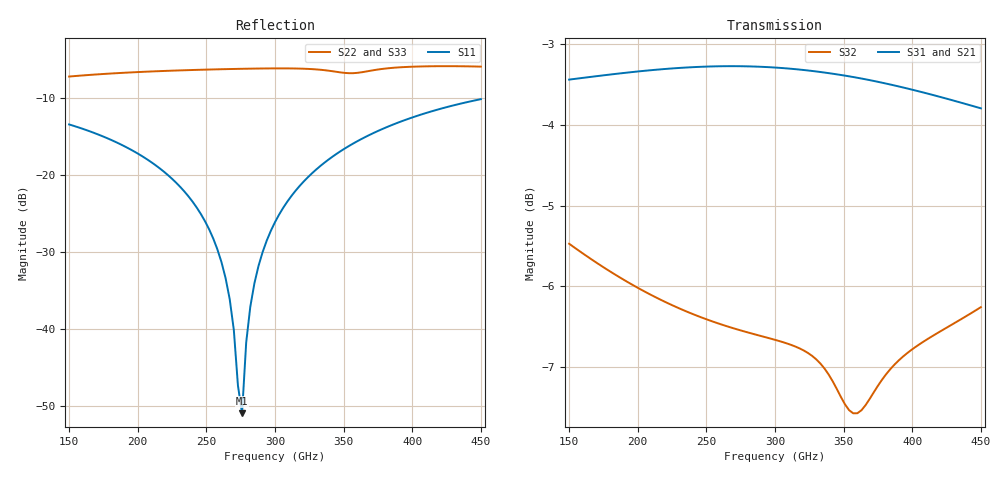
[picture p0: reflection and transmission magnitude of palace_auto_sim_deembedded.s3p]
! Created with skrf 1.11.0 (http://scikit-rf.org).
# GHz S DB R 50.0
!freq dBS11 angS11 dBS12 angS12 dBS13 angS13
! dBS21 angS21 dBS22 angS22 dBS23 angS23
! dBS31 angS31 dBS32 angS32 dBS33 angS33
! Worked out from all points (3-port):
!   101 points, 150 GHz to 450 GHz, reference 50 ohm
!   strongest paths, dB at 150 GHz, 225 GHz, 300 GHz, 375 GHz, 450 GHz:
!     S31: -3.4, -3.3, -3.3, -3.5, -3.8
!     S21: -3.4, -3.3, -3.3, -3.5, -3.8
!     S32: -5.5, -6.2, -6.7, -7.2, -6.3
!   lowest |S11| = -50.9 dB at 276 GHz (marker M1), VSWR 1.01, Z = 49.9 - j0.27 ohm
!   |S11| at or under -10 dB: start of sweep to end of sweep
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150  -13.48 146.3  -3.44 -40.8  -3.44 -40.8
     -3.44 -40.8  -7.27 54.2  -5.47 -98.5
     -3.44 -40.8  -5.47 -98.5  -7.27 54.2
210  -18.39 132.9  -3.32 -58.0  -3.32 -58.0
     -3.32 -58.0  -6.61 28.3  -6.11 -132.9
     -3.32 -58.0  -6.11 -132.9  -6.61 28.3
246  -25.10 125.4  -3.28 -68.7  -3.28 -68.7
     -3.28 -68.7  -6.39 15.5  -6.39 -153.0
     -3.28 -68.7  -6.39 -153.0  -6.39 15.5
264  -33.41 124.3  -3.27 -74.0  -3.27 -74.0
     -3.27 -74.0  -6.31 9.5  -6.49 -163.0
     -3.27 -74.0  -6.49 -163.0  -6.31 9.5
276  -50.94 -108.0  -3.27 -77.6  -3.27 -77.6
     -3.27 -77.6  -6.27 5.6  -6.56 -169.7
     -3.27 -77.6  -6.56 -169.7  -6.26 5.6
279  -41.78 -78.6  -3.27 -78.5  -3.27 -78.5
     -3.27 -78.5  -6.26 4.7  -6.57 -171.4
     -3.27 -78.5  -6.57 -171.4  -6.25 4.7
282  -37.12 -73.5  -3.27 -79.4  -3.27 -79.4
     -3.27 -79.4  -6.25 3.7  -6.58 -173.1
     -3.27 -79.4  -6.58 -173.1  -6.25 3.7
300  -26.15 -72.0  -3.29 -84.9  -3.29 -84.9
     -3.29 -84.9  -6.21 -2.1  -6.67 176.7
     -3.29 -84.9  -6.67 176.7  -6.21 -2.1
354  -16.26 -83.5  -3.40 -101.1  -3.40 -101.1
     -3.40 -101.1  -6.84 -17.0  -7.54 147.5
     -3.40 -101.1  -7.54 147.5  -6.83 -17.0
450  -10.20 -105.4  -3.79 -128.8  -3.79 -128.8
     -3.79 -128.8  -5.99 -48.4  -6.26 98.4
     -3.79 -128.8  -6.26 98.4  -5.98 -48.5
